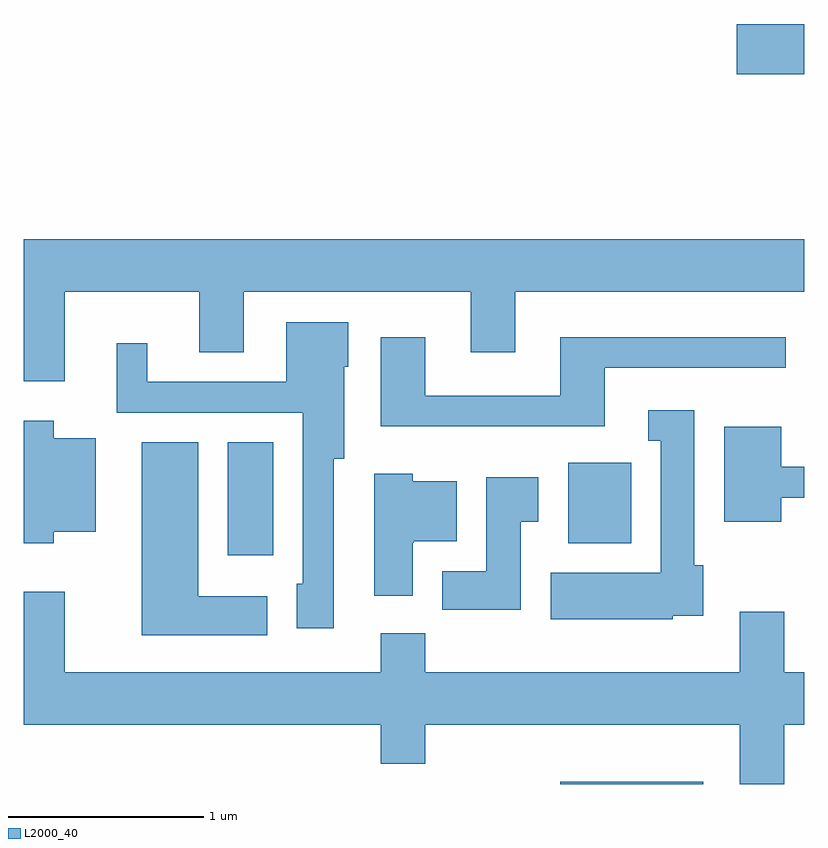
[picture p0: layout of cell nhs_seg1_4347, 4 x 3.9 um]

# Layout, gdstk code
import gdstk
lib = gdstk.Library(unit=1e-6, precision=1e-09)
def R(c, l, rs):  # rectangles x0, y0, x1, y1
    for r in rs: c.add(gdstk.rectangle(r[:2], r[2:], *l))
def P(c, l, *ps):  # polygons
    for p in ps: c.add(gdstk.Polygon(p, *l))
L2000_40 = (2000, 40)

nhs_seg1_4347 = lib.new_cell('nhs_seg1_4347')
R(nhs_seg1_4347, L2000_40, [(318.361,903.712,319.094,903.724), (316.656,904.886,316.889,905.464), (318.401,904.946,318.724,905.359), (319.266,907.351,319.611,907.609)])
P(nhs_seg1_4347, L2000_40, [(315.819,906.236),(316.511,906.236),(316.511,905.926),(316.739,905.926),(316.739,906.236),(317.901,906.236),(317.901,905.926),(318.129,905.926),(318.129,906.236),(319.611,906.236),(319.611,906.504),(315.611,906.504),(315.611,905.776),(315.819,905.776)],
  [(317.199,905.381),(317.254,905.381),(317.254,905.851),(317.274,905.851),(317.274,906.079),(316.956,906.079),(316.956,905.774),(316.244,905.774),(316.244,905.973),(316.086,905.973),(316.086,905.616),(317.041,905.616),(317.041,904.739),(317.011,904.739),(317.011,904.511),(317.199,904.511)],
  [(318.589,905.846),(319.518,905.846),(319.518,906.004),(318.361,906.004),(318.361,905.704),(317.669,905.704),(317.669,906.004),(317.441,906.004),(317.441,905.546),(318.589,905.546)],
  [(318.939,904.576),(319.094,904.576),(319.094,904.834),(319.049,904.834),(319.049,905.629),(318.813,905.629),(318.813,905.471),(318.876,905.471),(318.876,904.794),(318.311,904.794),(318.311,904.556),(318.939,904.556)],
  [(315.764,905.006),(315.979,905.006),(315.979,905.484),(315.764,905.484),(315.764,905.574),(315.611,905.574),(315.611,904.946),(315.764,904.946)],
  [(319.494,905.181),(319.611,905.181),(319.611,905.339),(319.494,905.339),(319.494,905.544),(319.201,905.544),(319.201,905.056),(319.494,905.056)],
  [(316.859,904.674),(316.504,904.674),(316.504,905.464),(316.216,905.464),(316.216,904.476),(316.859,904.476)],
  [(317.604,904.95),(317.61,904.95),(317.61,904.956),(317.829,904.956),(317.829,905.264),(317.604,905.264),(317.604,905.304),(317.406,905.304),(317.406,904.676),(317.604,904.676)],
  [(318.159,905.056),(318.249,905.056),(318.249,905.284),(317.981,905.284),(317.981,904.804),(317.756,904.804),(317.756,904.606),(318.159,904.606)],
  [(319.509,904.016),(319.611,904.016),(319.611,904.284),(319.509,904.284),(319.509,904.594),(319.281,904.594),(319.281,904.284),(317.669,904.284),(317.669,904.484),(317.441,904.484),(317.441,904.284),(315.819,904.284),(315.819,904.699),(315.611,904.699),(315.611,904.016),(317.441,904.016),(317.441,903.816),(317.669,903.816),(317.669,904.016),(319.281,904.016),(319.281,903.712),(319.509,903.712)])

lib.write_gds('nhs_seg1_4347.gds')
